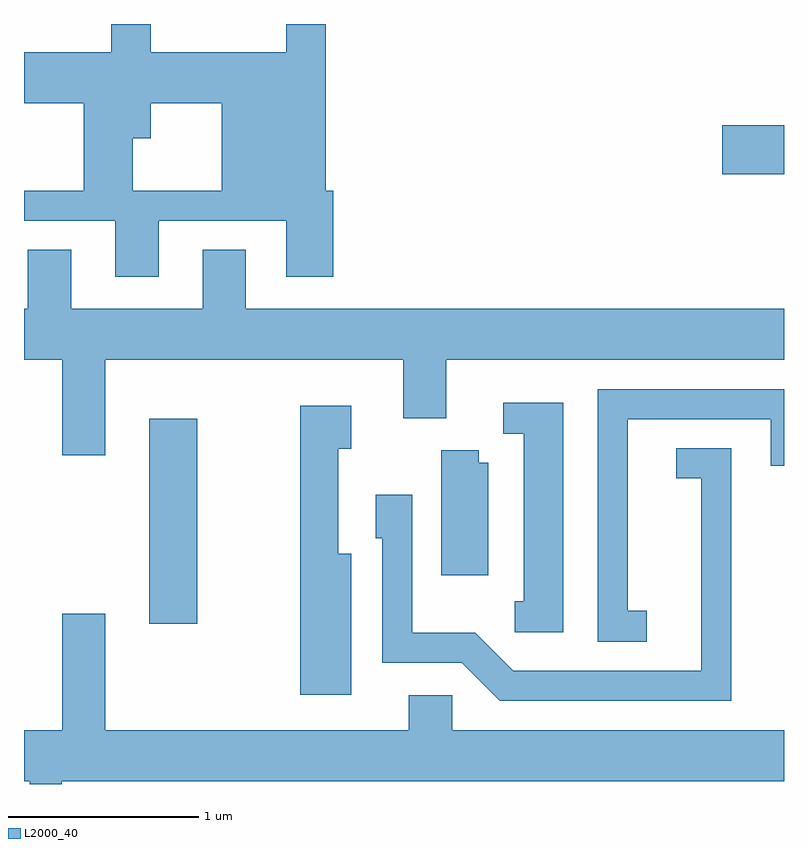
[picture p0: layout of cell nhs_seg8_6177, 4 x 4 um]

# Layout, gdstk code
import gdstk
lib = gdstk.Library(unit=1e-6, precision=1e-09)
def R(c, l, rs):  # rectangles x0, y0, x1, y1
    for r in rs: c.add(gdstk.rectangle(r[:2], r[2:], *l))
def P(c, l, *ps):  # polygons
    for p in ps: c.add(gdstk.Polygon(p, *l))
L2000_40 = (2000, 40)

nhs_seg8_6177 = lib.new_cell('nhs_seg8_6177')
R(nhs_seg8_6177, L2000_40, [(370.271,1897.186,370.524,1898.264), (373.286,1899.551,373.611,1899.809)])
P(nhs_seg8_6177, L2000_40, [(370.319,1899.306),(370.991,1899.306),(370.991,1899.011),(371.239,1899.011),(371.239,1899.464),(371.199,1899.464),(371.199,1900.342),(370.991,1900.342),(370.991,1900.194),(370.279,1900.194),(370.279,1900.342),(370.071,1900.342),(370.071,1900.194),(369.611,1900.194),(369.611,1899.926),(369.926,1899.926),(369.926,1899.464),(370.184,1899.464),(370.184,1899.741),(370.279,1899.741),(370.279,1899.926),(370.651,1899.926),(370.651,1899.464),(370.184,1899.464),(369.926,1899.464),(369.611,1899.464),(369.611,1899.306),(370.091,1899.306),(370.091,1899.011),(370.319,1899.011)],
  [(370.039,1898.576),(371.606,1898.576),(371.606,1898.266),(371.834,1898.266),(371.834,1898.576),(373.611,1898.576),(373.611,1898.844),(370.779,1898.844),(370.779,1899.154),(370.551,1899.154),(370.551,1898.844),(369.859,1898.844),(369.859,1899.154),(369.631,1899.154),(369.631,1898.844),(369.611,1898.844),(369.611,1898.576),(369.811,1898.576),(369.811,1898.071),(370.039,1898.071)],
  [(372.888,1897.254),(372.789,1897.254),(372.789,1898.261),(373.541,1898.261),(373.541,1898.016),(373.611,1898.016),(373.611,1898.419),(372.631,1898.419),(372.631,1897.091),(372.888,1897.091)],
  [(372.449,1898.349),(372.133,1898.349),(372.133,1898.186),(372.241,1898.186),(372.241,1897.304),(372.193,1897.304),(372.193,1897.141),(372.449,1897.141)],
  [(371.334,1897.554),(371.264,1897.554),(371.264,1898.106),(371.334,1898.106),(371.334,1898.334),(371.066,1898.334),(371.066,1896.811),(371.334,1896.811)],
  [(373.334,1898.109),(373.043,1898.109),(373.043,1897.951),(373.176,1897.951),(373.176,1896.939),(372.187,1896.939),(371.987,1897.139),(371.654,1897.139),(371.654,1897.864),(371.461,1897.864),(371.461,1897.636),(371.496,1897.636),(371.496,1896.981),(371.914,1896.981),(372.114,1896.781),(373.334,1896.781)],
  [(372.054,1898.034),(372.004,1898.034),(372.004,1898.099),(371.806,1898.099),(371.806,1897.441),(372.054,1897.441)],
  [(369.809,1896.356),(373.611,1896.356),(373.611,1896.624),(371.864,1896.624),(371.864,1896.809),(371.636,1896.809),(371.636,1896.624),(370.039,1896.624),(370.039,1897.239),(369.811,1897.239),(369.811,1896.624),(369.611,1896.624),(369.611,1896.356),(369.641,1896.356),(369.641,1896.342),(369.809,1896.342)])

lib.write_gds('nhs_seg8_6177.gds')
